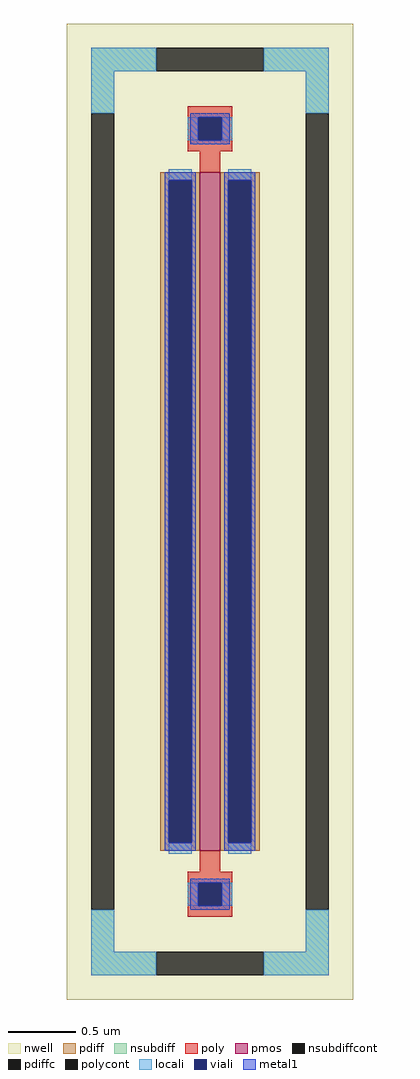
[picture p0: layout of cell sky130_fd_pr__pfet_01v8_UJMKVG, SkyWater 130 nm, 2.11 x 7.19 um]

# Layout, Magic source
magic
tech sky130B
magscale 1 2
<< nwell >>
rect -211 -719 211 719
<< pmos >>
rect -15 -500 15 500
<< pdiff >>
rect -73 488 -15 500
rect -73 -488 -61 488
rect -27 -488 -15 488
rect -73 -500 -15 -488
rect 15 488 73 500
rect 15 -488 27 488
rect 61 -488 73 488
rect 15 -500 73 -488
<< pdiffc >>
rect -61 -488 -27 488
rect 27 -488 61 488
<< nsubdiff >>
rect -175 649 -79 683
rect 79 649 175 683
rect -175 587 -141 649
rect 141 587 175 649
rect -175 -649 -141 -587
rect 141 -649 175 -587
rect -175 -683 -79 -649
rect 79 -683 175 -649
<< nsubdiffcont >>
rect -79 649 79 683
rect -175 -587 -141 587
rect 141 -587 175 587
rect -79 -683 79 -649
<< poly >>
rect -33 581 33 597
rect -33 547 -17 581
rect 17 547 33 581
rect -33 531 33 547
rect -15 500 15 531
rect -15 -531 15 -500
rect -33 -547 33 -531
rect -33 -581 -17 -547
rect 17 -581 33 -547
rect -33 -597 33 -581
<< polycont >>
rect -17 547 17 581
rect -17 -581 17 -547
<< locali >>
rect -175 649 -79 683
rect 79 649 175 683
rect -175 587 -141 649
rect 141 587 175 649
rect -33 547 -17 581
rect 17 547 33 581
rect -61 488 -27 504
rect -61 -504 -27 -488
rect 27 488 61 504
rect 27 -504 61 -488
rect -33 -581 -17 -547
rect 17 -581 33 -547
rect -175 -649 -141 -587
rect 141 -649 175 -587
rect -175 -683 -79 -649
rect 79 -683 175 -649
<< viali >>
rect -17 547 17 581
rect -61 -488 -27 488
rect 27 -488 61 488
rect -17 -581 17 -547
<< metal1 >>
rect -29 581 29 587
rect -29 547 -17 581
rect 17 547 29 581
rect -29 541 29 547
rect -67 488 -21 500
rect -67 -488 -61 488
rect -27 -488 -21 488
rect -67 -500 -21 -488
rect 21 488 67 500
rect 21 -488 27 488
rect 61 -488 67 488
rect 21 -500 67 -488
rect -29 -547 29 -541
rect -29 -581 -17 -547
rect 17 -581 29 -547
rect -29 -587 29 -581
<< properties >>
string FIXED_BBOX -158 -666 158 666
string gencell sky130_fd_pr__pfet_01v8
string library sky130
string parameters w 5 l 0.15 m 1 nf 1 diffcov 100 polycov 100 guard 1 glc 1 grc 1 gtc 1 gbc 1 tbcov 100 rlcov 100 topc 1 botc 1 poverlap 0 doverlap 1 lmin 0.15 wmin 0.42 compatible {sky130_fd_pr__pfet_01v8  sky130_fd_pr__pfet_01v8_lvt sky130_fd_pr__pfet_01v8_hvt  sky130_fd_pr__pfet_g5v0d10v5} full_metal 1 viasrc 100 viadrn 100 viagate 100 viagb 0 viagr 0 viagl 0 viagt 0
<< end >>
